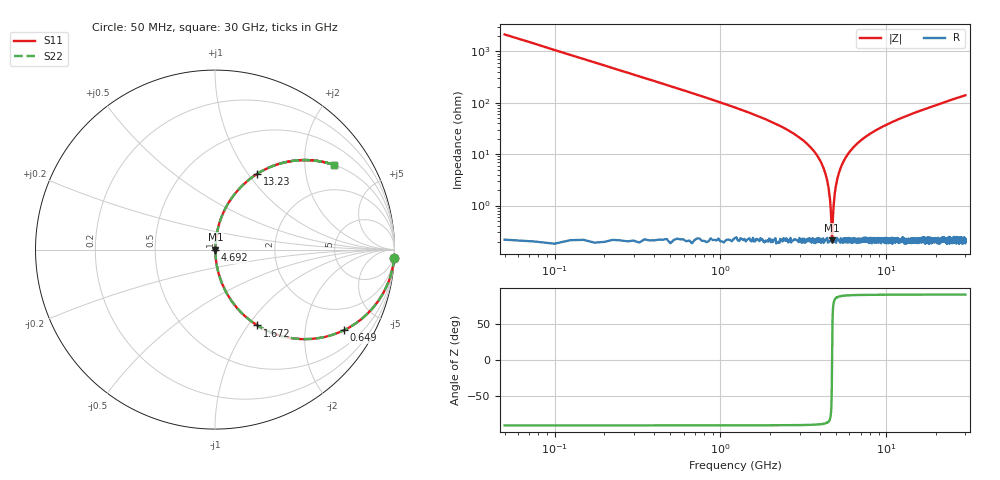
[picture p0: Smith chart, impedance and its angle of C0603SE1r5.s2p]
!	AVX Thin Film Operation 	Date: April 2014
!	Description: Accu-P® Series, Thin Film  SMD RF Capacitor
!	Part Number: 06031J1R5PBSTR
# MHZ S MA R 50
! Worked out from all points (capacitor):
!   1201 points, 50 MHz to 30 GHz, reference 50 ohm
!   read as one part in series: C = 1.5 pF near 199.8 MHz
!   lowest |Z| = 212 mohm at 4.717 GHz (marker M1)
!   series resonance near 4.712 GHz, so ESL is about 760 pH
!   S11 on the Smith chart (normalised r, x): 50 MHz: 1, -42; 649 MHz: 1.00, -3.21; 1.672 GHz: 1.00, -1.11; 4.692 GHz: 1.00, -0.00; 13.23 GHz: 1.00, +1.10; 30 GHz: 1.00, +2.80
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50  0.999 -2.7  0.047 87.3  0.047 87.3  0.999 -2.7
324.542  0.956 -17.1  0.294 72.9  0.294 72.9  0.956 -17.1
649  0.848 -31.9  0.529 58.0  0.529 58.0  0.848 -31.9
1672.292  0.484 -60.8  0.873 29.0  0.873 29.0  0.484 -60.8
3069.958  0.195 -78.2  0.979 11.2  0.979 11.2  0.195 -78.2
3893.583  0.086 -83.7  0.994 4.9  0.994 4.9  0.086 -83.7
4342.833  0.037 -84.6  0.997 2.1  0.997 2.1  0.037 -84.6
4467.625  0.024 -83.6  0.998 1.4  0.998 1.4  0.024 -83.6
4617.375  0.009364 -76.4  0.998 0.5  0.998 0.5  0.009364 -76.4
4692.25  0.002839 -41.7  0.998 0.1  0.998 0.1  0.002839 -41.7
4717.208  0.002172 13.0  0.998 -0.0  0.998 -0.0  0.002172 13.0
4817.042  0.01 77.4  0.998 -0.6  0.998 -0.6  0.01 77.4
5041.667  0.03 84.3  0.997 -1.7  0.997 -1.7  0.03 84.3
5540.833  0.073 84.2  0.995 -4.2  0.995 -4.2  0.073 84.2
6464.292  0.143 80.9  0.988 -8.2  0.988 -8.2  0.143 80.9
7861.958  0.234 76.0  0.97 -13.5  0.97 -13.5  0.234 76.0
10058.29  0.351 69.2  0.935 -20.5  0.935 -20.5  0.351 69.2
13228  0.482 60.9  0.874 -28.8  0.874 -28.8  0.482 60.9
15025  0.543 57.0  0.838 -32.9  0.838 -32.9  0.543 57.0
20016.67  0.67 47.8  0.741 -42.0  0.741 -42.0  0.67 47.8
25033.29  0.755 40.9  0.654 -49.0  0.654 -49.0  0.755 40.9
30000  0.813 35.5  0.581 -54.4  0.581 -54.4  0.813 35.5
